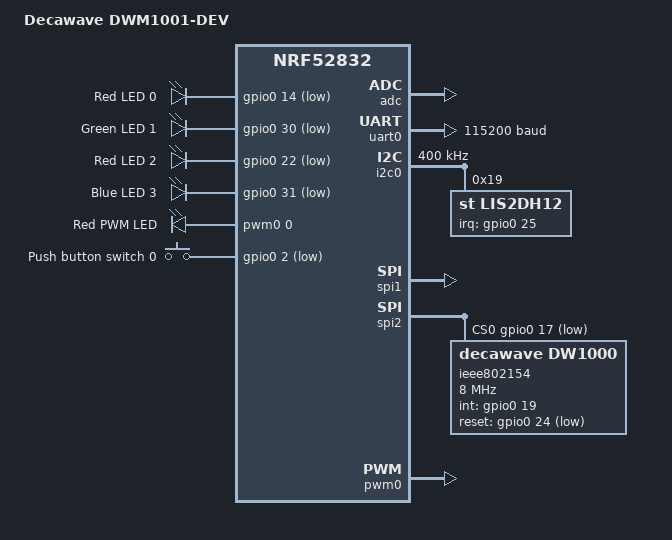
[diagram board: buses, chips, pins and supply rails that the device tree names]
/*
 * Copyright (c) 2019 Stéphane D'Alu
 *
 * SPDX-License-Identifier: Apache-2.0
 */

/dts-v1/;
#include <nordic/nrf52832_qfaa.dtsi>
#include "decawave_dwm1001_dev-pinctrl.dtsi"
#include <zephyr/dt-bindings/input/input-event-codes.h>

/ {
	compatible = "decawave,dwm1001";
	model = "Decawave DWM1001-DEV";

	chosen {
		zephyr,console = &uart0;
		zephyr,shell-uart = &uart0;
		zephyr,uart-mcumgr = &uart0;
		zephyr,bt-mon-uart = &uart0;
		zephyr,bt-c2h-uart = &uart0;
		zephyr,sram = &sram0;
		zephyr,flash = &flash0;
		zephyr,code-partition = &slot0_partition;
		zephyr,ieee802154 = &ieee802154;
	};

	leds {
		compatible = "gpio-leds";

		led0_red: led_0 {
			gpios = <&gpio0 14 GPIO_ACTIVE_LOW>;
			label = "Red LED 0";
		};

		led1_green: led_1 {
			gpios = <&gpio0 30 GPIO_ACTIVE_LOW>;
			label = "Green LED 1";
		};

		led2_red: led_2 {
			gpios = <&gpio0 22 GPIO_ACTIVE_LOW>;
			label = "Red LED 2";
		};

		led3_blue: led_3 {
			gpios = <&gpio0 31 GPIO_ACTIVE_LOW>;
			label = "Blue LED 3";
		};
	};

	pwmleds {
		compatible = "pwm-leds";

		pwm_led0_red: pwm_led_0 {
			pwms = <&pwm0 0 PWM_MSEC(20) PWM_POLARITY_INVERTED>;
			label = "Red PWM LED";
		};
	};

	buttons {
		compatible = "gpio-keys";

		button0: button_0 {
			gpios = <&gpio0 2 (GPIO_PULL_UP | GPIO_ACTIVE_LOW)>;
			label = "Push button switch 0";
			zephyr,code = <INPUT_KEY_0>;
		};
	};

	/* These aliases are provided for compatibility with samples */
	aliases {
		sw0 = &button0;
		led0 = &led0_red;
		led1 = &led1_green;
		led2 = &led2_red;
		led3 = &led3_blue;
		led0-red = &led0_red;
		led1-green = &led1_green;
		led2-red = &led2_red;
		led3-blue = &led3_blue;
		pwm-led0 = &pwm_led0_red;
		watchdog0 = &wdt0;
		accel0 = &lis2dh12;
	};
};

&reg {
	regulator-initial-mode = <NRF5X_REG_MODE_DCDC>;
};

&adc {
	status = "okay";
};

&uicr {
	gpio-as-nreset;
};

&gpiote {
	status = "okay";
};

&gpio0 {
	status = "okay";
};

&uart0 {
	compatible = "nordic,nrf-uart";
	current-speed = <115200>;
	pinctrl-0 = <&uart0_default>;
	pinctrl-1 = <&uart0_sleep>;
	pinctrl-names = "default", "sleep";
	status = "okay";
};

&i2c0 {
	compatible = "nordic,nrf-twim";
	clock-frequency = <I2C_BITRATE_FAST>;

	pinctrl-0 = <&i2c0_default>;
	pinctrl-1 = <&i2c0_sleep>;
	pinctrl-names = "default", "sleep";
	status = "okay";

	lis2dh12: lis2dh12@19 {
		compatible = "st,lis2dh12", "st,lis2dh";
		reg = <0x19>;
		irq-gpios = <&gpio0 25 GPIO_ACTIVE_HIGH>;
	};
};

&spi1 {
	compatible = "nordic,nrf-spi";
	cs-gpios = <&gpio0 3 0>;
	pinctrl-0 = <&spi1_default>;
	pinctrl-1 = <&spi1_sleep>;
	pinctrl-names = "default", "sleep";
	status = "okay";
};

&spi2 {
	compatible = "nordic,nrf-spi";
	cs-gpios = <&gpio0 17 GPIO_ACTIVE_LOW>;

	pinctrl-0 = <&spi2_default>;
	pinctrl-1 = <&spi2_sleep>;
	pinctrl-names = "default", "sleep";
	status = "okay";

	ieee802154: dw1000@0 {
		compatible = "decawave,dw1000";
		reg = <0>;
		spi-max-frequency = <8000000>;
		int-gpios = <&gpio0 19 GPIO_ACTIVE_HIGH>;	/* P0.19 */
		reset-gpios = <&gpio0 24 GPIO_ACTIVE_LOW>;	/* P0.24 */
		status = "okay";
	};
};

&pwm0 {
	pinctrl-0 = <&pwm0_default>;
	pinctrl-1 = <&pwm0_sleep>;
	pinctrl-names = "default", "sleep";
	status = "okay";
};

&flash0 {
	partitions {
		compatible = "fixed-partitions";
		#address-cells = <1>;
		#size-cells = <1>;

		boot_partition: partition@0 {
			reg = <0x00000000 0xc000>;
			label = "mcuboot";
		};

		slot0_partition: partition@c000 {
			reg = <0x0000C000 0x32000>;
			label = "image-0";
		};

		slot1_partition: partition@3e000 {
			reg = <0x0003E000 0x32000>;
			label = "image-1";
		};

		scratch_partition: partition@70000 {
			reg = <0x00070000 0xa000>;
			label = "image-scratch";
		};

		storage_partition: partition@7a000 {
			reg = <0x0007a000 0x00006000>;
			label = "storage";
		};
	};
};
